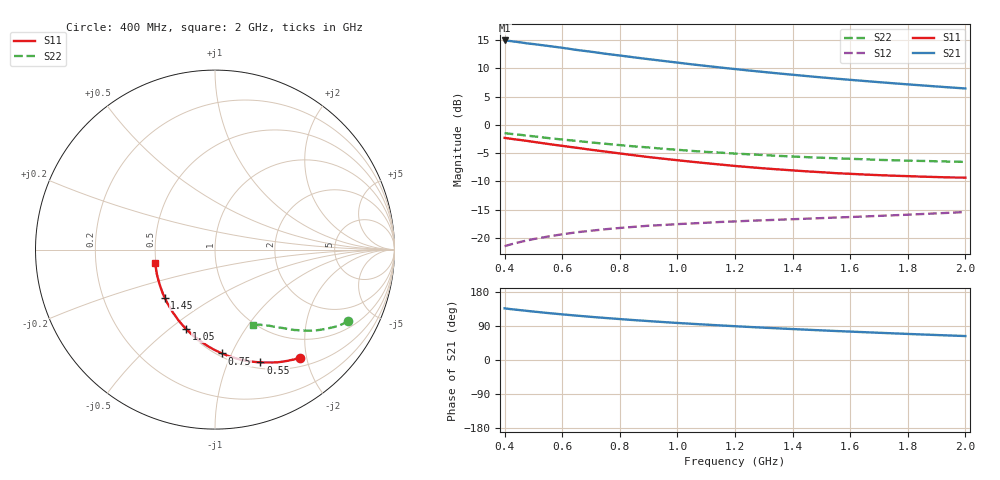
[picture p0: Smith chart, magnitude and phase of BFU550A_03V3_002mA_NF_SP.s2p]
! Filename:  P:\Prog\Test\Noise\ATS_data\Testdata_Net\06 Compressed Noise after Statistics\BFU550A_APG2013_35_C05_03p3V_002mA_NF_CM01_D.sf
! Date/Time: Tue 16/Apr/2013 15:11:25
! BFU550A_APG2013_35_C05_03p3V_1to35mA_NF_CM01_Bias2_R.sf
! Noise Parameter Data File
! BFU550A_APG2013_35_C05_03p3V_1to35mA_NF_CM01
! Date/time: Mon Apr 15 15:23:40 2013
! VAR V_out= 3.301000
! VAR I_out= 1.990000
! VAR V_in= 0.801000
! VAR I_in= 0.021100
! Device data file deembeded for feedlines and parallel
! Original file: \06 Compressed Noise after Statistics\BFU550A_APG2013_35_C05_03p3V_002mA_NF_CM01_R.sf
! Feed-files: PR017V01_150413_Feed1.s2p, PR017V01_150413_Feed2.s2p
! Parallel-file: PR017V01_150413_Par.s2p
# MHz S MA R 50
!  Freq-MHz  S11-mag  S11-arg  S21-mag  S21-arg  S12-mag  S12-arg  S22-mag  S22-arg
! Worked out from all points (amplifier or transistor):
!   37 points, 400 MHz to 2 GHz, reference 50 ohm
!   highest |S21| = 14.9 dB at 400 MHz (marker M1)
!   |S21| within 3 dB of that: start of sweep to 851.8 MHz
!   unconditionally stable (mu >= 1): nowhere
!   at 500 MHz: K = 0.34, MSG = 17.2 dB, |S12| = -20.2 dB
!   at 1.1 GHz: K = 0.68, MSG = 13.9 dB, |S12| = -17.3 dB
!   at 2 GHz: K = 0.99, MSG = 10.9 dB, |S12| = -15.4 dB
!   lowest NFmin = 0.51 dB at 420 MHz
!   S11 on the Smith chart (normalised r, x): 400 MHz: 0.64, -1.88; 550 MHz: 0.57, -1.32; 750 MHz: 0.53, -0.92; 1.05 GHz: 0.50, -0.58; 1.45 GHz: 0.50, -0.31; 2 GHz: 0.50, -0.08
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400  0.7658 -52.0  5.564 136.2  0.08457 61.2  0.8429 -28.3
420  0.7535 -54.3  5.497 134.4  0.08749 60.2  0.8324 -29.4
460  0.7304 -58.6  5.33 131.1  0.09285 58.3  0.8122 -31.3
500  0.7068 -62.9  5.17 127.8  0.09764 56.6  0.7909 -33.1
550  0.6775 -68.1  4.981 124.0  0.1028 54.6  0.764 -35.2
600  0.6514 -72.9  4.794 120.4  0.1077 53.0  0.7409 -37.0
650  0.6264 -77.4  4.588 117.1  0.1122 51.5  0.7204 -38.7
700  0.6017 -82.0  4.426 113.9  0.1158 50.1  0.6985 -40.3
750  0.5798 -86.2  4.245 110.9  0.1194 49.0  0.6795 -41.6
850  0.5376 -94.6  3.944 105.2  0.1254 47.2  0.644 -44.2
900  0.5185 -98.6  3.803 102.7  0.1283 46.4  0.6306 -45.3
950  0.5019 -102.4  3.672 100.2  0.1301 45.9  0.6138 -46.5
1050  0.4714 -109.7  3.422 95.5  0.1343 45.1  0.5877 -48.4
1100  0.4578 -113.3  3.312 93.3  0.1363 44.8  0.5763 -49.3
1200  0.4326 -120.2  3.109 89.2  0.1399 44.4  0.5567 -51.0
1300  0.4121 -126.8  2.929 85.3  0.1433 44.3  0.54 -52.6
1450  0.3876 -136.4  2.695 79.9  0.148 44.8  0.5175 -54.9
1500  0.3809 -139.6  2.624 78.2  0.1497 44.9  0.5114 -55.7
1650  0.3634 -148.4  2.438 73.4  0.1548 45.9  0.4956 -58.0
1750  0.3549 -154.3  2.328 70.3  0.1586 46.7  0.4862 -59.4
1850  0.3481 -159.8  2.228 67.3  0.1627 47.6  0.4793 -61.0
2000  0.3415 -167.8  2.094 63.2  0.1694 48.9  0.4701 -63.3
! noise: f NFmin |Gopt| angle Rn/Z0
400  0.5178  0.4939  23.72  0.1954
460  0.523  0.4735  29.6  0.1898
600  0.6083  0.4556  33.76  0.1993
800  0.6022  0.4575  53.89  0.1553
1000  0.6526  0.4294  65.39  0.1455
1200  0.7104  0.4301  76.69  0.1397
1400  0.7383  0.4168  91.3  0.1188
1600  0.7841  0.4082  108.6  0.0966
1800  0.6886  0.475  128.4  0.0622
2000  0.8065  0.424  135  0.0652
